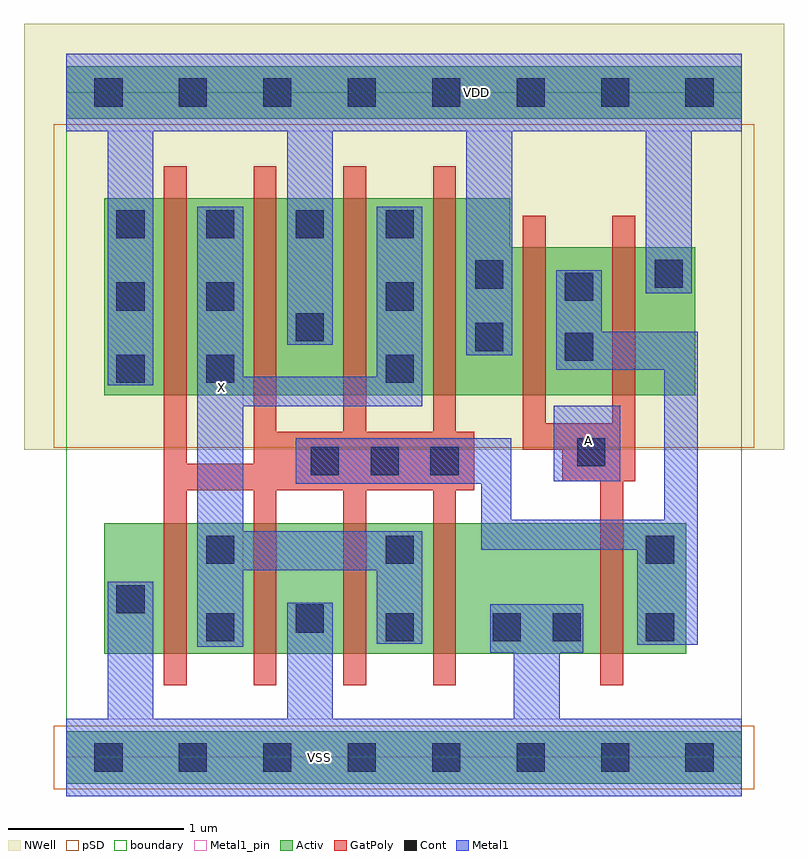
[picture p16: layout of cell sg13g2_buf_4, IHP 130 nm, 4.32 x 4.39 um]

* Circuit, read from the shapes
.subckt sg13g2_buf_4 A VDD VSS X
XM1 X n1 VSS VSS sg13_lv_nmos w=0.74u l=0.13u m=4
XM2 n1 A VSS VSS sg13_lv_nmos w=0.74u l=0.13u
XM3 X n1 VDD VDD sg13_lv_pmos w=1.12u l=0.13u m=4
XM4 n1 A VDD VDD sg13_lv_pmos w=0.84u l=0.13u m=2
.ends

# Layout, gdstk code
import gdstk
lib = gdstk.Library(unit=1e-6, precision=1e-09)
def R(c, l, rs):  # rectangles x0, y0, x1, y1
    for r in rs: c.add(gdstk.rectangle(r[:2], r[2:], *l))
def A(c, l, x, y, w, h, nx, ny, dx, dy):  # array of equal rectangles
    R(c, l, [(x+i*dx, y+j*dy, x+i*dx+w, y+j*dy+h) for i in range(nx) for j in range(ny)])
def P(c, l, *ps):  # polygons
    for p in ps: c.add(gdstk.Polygon(p, *l))
Activ = (1, 0)
GatPoly = (5, 0)
Cont = (6, 0)
Metal1 = (8, 0)
Metal1_pin = (8, 2)
pSD = (14, 0)
NWell = (31, 0)
boundary = (189, 4)

sg13g2_buf_4 = lib.new_cell('sg13g2_buf_4')
R(sg13g2_buf_4, Activ, [(0,-0.15,3.84,0.15), (0.215,0.59,3.525,1.33), (0,3.63,3.84,3.93)])
P(sg13g2_buf_4, Activ, [(0.215,2.06),(0.215,3.18),(2.525,3.18),(2.525,2.9),(3.575,2.9),(3.575,2.06)])
P(sg13g2_buf_4, GatPoly, [(3.035,0.41),(3.035,1.57),(2.82,1.57),(2.82,1.75),(2.595,1.75),(2.595,3.08),(2.725,3.08),(2.725,1.9),(3.105,1.9),(3.105,3.08),(3.235,3.08),(3.235,1.57),(3.165,1.57),(3.165,0.41)],
  [(0.555,0.41),(0.555,3.36),(0.685,3.36),(0.685,1.67),(1.065,1.67),(1.065,3.36),(1.195,3.36),(1.195,1.85),(1.575,1.85),(1.575,3.36),(1.705,3.36),(1.705,1.85),(2.085,1.85),(2.085,3.36),(2.215,3.36),(2.215,1.85),(2.32,1.85),(2.32,1.52),(2.215,1.52),(2.215,0.41),(2.085,0.41),(2.085,1.52),(1.705,1.52),(1.705,0.41),(1.575,0.41),(1.575,1.52),(1.195,1.52),(1.195,0.41),(1.065,0.41),(1.065,1.52),(0.685,1.52),(0.685,0.41)])
A(sg13g2_buf_4, Cont, 1.39, 1.605, 0.16, 0.16, 3, 1, 0.34, 0)
A(sg13g2_buf_4, Cont, 0.285, 2.95, 0.16, 0.16, 4, 1, 0.51, 0)
R(sg13g2_buf_4, Cont, [(0.16,-0.08,0.32,0.08), (0.16,-0.08,0.32,0.08), (0.64,-0.08,0.8,0.08), (0.64,-0.08,0.8,0.08), (1.12,-0.08,1.28,0.08), (1.12,-0.08,1.28,0.08), (1.6,-0.08,1.76,0.08), (1.6,-0.08,1.76,0.08), (2.08,-0.08,2.24,0.08), (2.08,-0.08,2.24,0.08), (2.56,-0.08,2.72,0.08), (2.56,-0.08,2.72,0.08), (3.04,-0.08,3.2,0.08), (3.04,-0.08,3.2,0.08), (3.52,-0.08,3.68,0.08), (3.52,-0.08,3.68,0.08), (0.795,0.66,0.955,0.82), (1.815,0.66,1.975,0.82), (2.425,0.66,2.585,0.82), (2.765,0.66,2.925,0.82), (3.295,0.66,3.455,0.82), (1.305,0.71,1.465,0.87), (0.285,0.82,0.445,0.98), (0.795,1.1,0.955,1.26), (1.815,1.1,1.975,1.26), (3.295,1.1,3.455,1.26), (2.905,1.655,3.065,1.815), (0.285,2.13,0.445,2.29), (0.795,2.13,0.955,2.29), (1.815,2.13,1.975,2.29), (2.835,2.255,2.995,2.415), (2.325,2.31,2.485,2.47), (1.305,2.365,1.465,2.525), (0.285,2.54,0.445,2.7), (0.795,2.54,0.955,2.7), (1.815,2.54,1.975,2.7), (2.835,2.595,2.995,2.755), (2.325,2.665,2.485,2.825), (3.345,2.67,3.505,2.83), (0.16,3.7,0.32,3.86), (0.16,3.7,0.32,3.86), (0.64,3.7,0.8,3.86), (0.64,3.7,0.8,3.86), (1.12,3.7,1.28,3.86), (1.12,3.7,1.28,3.86), (1.6,3.7,1.76,3.86), (1.6,3.7,1.76,3.86), (2.08,3.7,2.24,3.86), (2.08,3.7,2.24,3.86), (2.56,3.7,2.72,3.86), (2.56,3.7,2.72,3.86), (3.04,3.7,3.2,3.86), (3.04,3.7,3.2,3.86), (3.52,3.7,3.68,3.86), (3.52,3.7,3.68,3.86)])
R(sg13g2_buf_4, Metal1, [(2.77,1.57,3.15,2)])
P(sg13g2_buf_4, Metal1, [(0.745,0.63),(0.745,3.13),(1.005,3.13),(1.005,2.165),(1.765,2.165),(1.765,3.13),(2.025,3.13),(2.025,1.995),(1.005,1.995),(1.005,1.285),(2.025,1.285),(2.025,0.645),(1.765,0.645),(1.765,1.065),(1.005,1.065),(1.005,0.63)],
  [(3.245,0.64),(3.245,1.18),(2.36,1.18),(2.36,1.555),(1.305,1.555),(1.305,1.815),(2.53,1.815),(2.53,1.35),(3.4,1.35),(3.4,2.205),(2.785,2.205),(2.785,2.77),(3.045,2.77),(3.045,2.42),(3.59,2.42),(3.59,0.64)],
  [(0.235,2.115),(0.235,3.56),(0,3.56),(0,4),(3.84,4),(3.84,3.56),(3.555,3.56),(3.555,2.64),(3.295,2.64),(3.295,3.56),(2.535,3.56),(2.535,2.285),(2.275,2.285),(2.275,3.56),(1.515,3.56),(1.515,2.345),(1.255,2.345),(1.255,3.56),(0.495,3.56),(0.495,2.115)],
  [(0,-0.22),(0,0.22),(0.235,0.22),(0.235,1),(0.495,1),(0.495,0.22),(1.255,0.22),(1.255,0.88),(1.515,0.88),(1.515,0.22),(2.545,0.22),(2.545,0.595),(2.41,0.595),(2.41,0.87),(2.94,0.87),(2.94,0.595),(2.805,0.595),(2.805,0.22),(3.84,0.22),(3.84,-0.22)])
R(sg13g2_buf_4, Metal1_pin, [(0,-0.22,3.84,0.22), (0.745,0.63,1.005,3.13), (2.77,1.57,3.15,2), (0,3.56,3.84,4)])
R(sg13g2_buf_4, pSD, [(-0.07,-0.18,3.91,0.18), (-0.07,1.76,3.91,3.6)])
R(sg13g2_buf_4, NWell, [(-0.24,1.75,4.08,4.17)])
R(sg13g2_buf_4, boundary, [(0,0,3.84,3.78)])
sg13g2_buf_4.add(gdstk.Label('X', (0.88,2.105), layer=8, texttype=25))
sg13g2_buf_4.add(gdstk.Label('VSS', (1.44,0), layer=8, texttype=25))
sg13g2_buf_4.add(gdstk.Label('A', (2.97,1.8), layer=8, texttype=25))
sg13g2_buf_4.add(gdstk.Label('VDD', (2.33,3.78), layer=8, texttype=25))

lib.write_gds('sg13g2_buf_4.gds')
